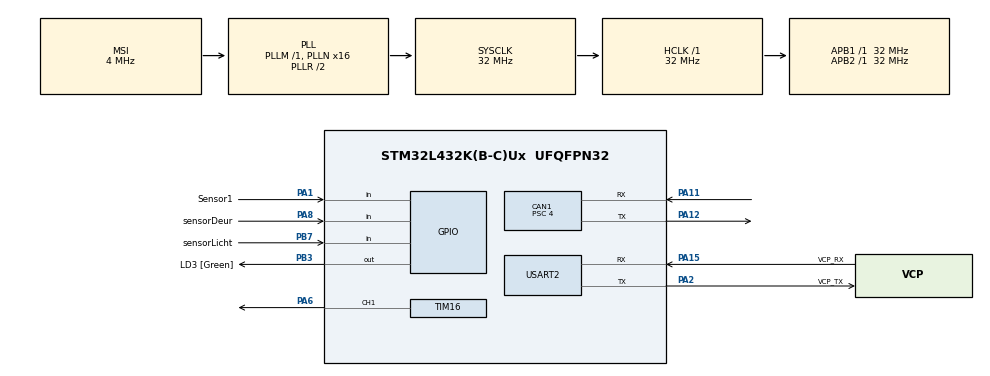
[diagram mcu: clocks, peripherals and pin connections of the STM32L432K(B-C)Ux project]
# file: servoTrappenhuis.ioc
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CAN1.AWUM=ENABLE
CAN1.BS1=CAN_BS1_15TQ
CAN1.BS2=CAN_BS2_2TQ
CAN1.CalculateBaudRate=444444
CAN1.CalculateTimeBit=2250
CAN1.CalculateTimeQuantum=125.0
CAN1.Prescaler=4
Mcu.Family=STM32L4
Mcu.Name=STM32L432K(B-C)Ux
Mcu.Package=UFQFPN32
NVIC.CAN1_RX0_IRQn=true\:0\:0\:false\:false\:true\:true\:true\:true
NVIC.CAN1_RX1_IRQn=true\:0\:0\:false\:false\:true\:true\:true\:true
NVIC.CAN1_SCE_IRQn=true\:0\:0\:false\:false\:true\:true\:true\:true
NVIC.CAN1_TX_IRQn=true\:0\:0\:false\:false\:true\:true\:true\:true
NVIC.PriorityGroup=NVIC_PRIORITYGROUP_4
PA0.GPIO_Label=MCO [High speed clock in]
PA0.Mode=HSE-External-Clock-Source-for-LittleOrca
PA0.Signal=RCC_CK_IN
PA1.GPIO_Label=Sensor1
PA1.GPIO_PuPd=GPIO_NOPULL
PA1.Signal=GPIO_Input
PA11.Mode=CAN_Activate
PA11.Signal=CAN1_RX
PA12.Mode=CAN_Activate
PA12.Signal=CAN1_TX
PA13\ (JTMS-SWDIO).GPIO_Label=SWDIO
PA13\ (JTMS-SWDIO).Mode=Serial_Wire
PA13\ (JTMS-SWDIO).Signal=SYS_JTMS-SWDIO
PA14\ (JTCK-SWCLK).GPIO_Label=SWCLK
PA14\ (JTCK-SWCLK).Mode=Serial_Wire
PA14\ (JTCK-SWCLK).Signal=SYS_JTCK-SWCLK
PA15\ (JTDI).GPIO_Label=VCP_RX
PA15\ (JTDI).Mode=Asynchronous
PA15\ (JTDI).Signal=USART2_RX
PA2.GPIO_Label=VCP_TX
PA2.Mode=Asynchronous
PA2.Signal=USART2_TX
PA6.Signal=S_TIM16_CH1
PA8.GPIO_Label=sensorDeur
PA8.Signal=GPIO_Input
PB3\ (JTDO-TRACESWO).GPIO_Label=LD3 [Green]
PB3\ (JTDO-TRACESWO).Signal=GPIO_Output
PB7.GPIO_Label=sensorLicht
PB7.Signal=GPIO_Input
PC14-OSC32_IN\ (PC14).Mode=LSE-External-Oscillator
PC14-OSC32_IN\ (PC14).Signal=RCC_OSC32_IN
PC15-OSC32_OUT\ (PC15).Mode=LSE-External-Oscillator
PC15-OSC32_OUT\ (PC15).Signal=RCC_OSC32_OUT
ProjectManager.HeapSize=0x200
ProjectManager.StackSize=0x400
ProjectManager.TargetToolchain=STM32CubeIDE
RCC.AHBFreq_Value=32000000
RCC.APB1Freq_Value=32000000
RCC.APB1TimFreq_Value=32000000
RCC.APB2Freq_Value=32000000
RCC.APB2TimFreq_Value=32000000
RCC.CortexFreq_Value=32000000
RCC.HCLKFreq_Value=32000000
RCC.HSE_VALUE=8000000
RCC.HSI16_VALUE=16000000
RCC.HSI48_VALUE=48000000
RCC.HSI_VALUE=16000000
RCC.MSI_VALUE=4000000
RCC.PLLMUL=RCC_PLLMUL_4
RCC.PLLN=16
RCC.SYSCLKFreq_VALUE=32000000
RCC.SYSCLKSource=RCC_SYSCLKSOURCE_PLLCLK
RCC.VCOOutputFreq_Value=64000000
SH.S_TIM16_CH1.0=TIM16_CH1,PWM Generation1 CH1
TIM16.AutoReloadPreload=TIM_AUTORELOAD_PRELOAD_ENABLE
TIM16.Channel=TIM_CHANNEL_1
TIM16.Period=200 - 1
TIM16.Prescaler=3200 - 1
TIM16.Pulse=25
TIM16.RepetitionCounter=200 -1
TIM2.Period=300000
TIM2.Prescaler=3200 - 1
TIM6.AutoReloadPreload=TIM_AUTORELOAD_PRELOAD_DISABLE
TIM6.Prescaler=3200 - 1
USART2.VirtualMode-Asynchronous=VM_ASYNC
VP_TIM16_VS_ClockSourceINT.Mode=Enable_Timer
VP_TIM2_VS_ClockSourceINT.Mode=Internal
VP_TIM6_VS_ClockSourceINT.Mode=Enable_Timer
board=NUCLEO-L432KC

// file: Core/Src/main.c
/* USER CODE BEGIN Header */
/**
  ******************************************************************************
  * @file           : main.c
  * @brief          : Main program body
  ******************************************************************************
  * @attention
  *
  * Copyright (c) 2024 STMicroelectronics.
  * All rights reserved.
  *
  * This software is licensed under terms that can be found in the LICENSE file
  * in the root directory of this software component.
  * If no LICENSE file comes with this software, it is provided AS-IS.
  *
  ******************************************************************************
  */
/* USER CODE END Header */
#include "main.h"

CAN_HandleTypeDef hcan1;

TIM_HandleTypeDef htim2;
TIM_HandleTypeDef htim6;
TIM_HandleTypeDef htim16;

UART_HandleTypeDef huart2;

void SystemClock_Config(void);
static void MX_GPIO_Init(void);
static void MX_USART2_UART_Init(void);
static void MX_CAN1_Init(void);
static void MX_TIM16_Init(void);
static void MX_TIM6_Init(void);
static void MX_TIM2_Init(void);
/* USER CODE BEGIN PFP */
void SendCANdeur(int status);
void SendCANlampen(int status);
/* USER CODE END PFP */

/* USER CODE BEGIN 0 */

uint32_t mb;
CAN_TxHeaderTypeDef msg;
uint8_t data[] = {1};

CAN_RxHeaderTypeDef msg2;
uint8_t data2[8];

/* USER CODE END 0 */

int main(void)
{

  /* MCU Configuration--------------------------------------------------------*/

  /* Reset of all peripherals, Initializes the Flash interface and the Systick. */
  HAL_Init();

  /* Configure the system clock */
  SystemClock_Config();

  /* Initialize all configured peripherals */
  MX_GPIO_Init();
  MX_USART2_UART_Init();
  MX_CAN1_Init();
  MX_TIM16_Init();
  MX_TIM6_Init();
  MX_TIM2_Init();
  /* USER CODE BEGIN 2 */

  HAL_TIM_PWM_Start(&htim16, TIM_CHANNEL_1);
  htim16.Instance->CCR1 = 15;					// deur/servo 'dicht'

  uint8_t tekstDeurOpen[] = "Beweging gedetecteerd: Deur gaat open\r\n";
  uint8_t tekstDeurDicht[] = "Geen beweging gedetecteerd: Deur gaat dicht\r\n";

  uint8_t tekstLampenAan[] = "Beweging gedetecteerd: Lampen aan\r\n";
  uint8_t tekstLampenUit[] = "Geen beweging gedetecteerd: Lampen uit\r\n";

  int statusDeur = 0;
  int statusLampen = 0;

  uint32_t currentTimeDeur = 0;
  uint32_t currentTimeLampen = 0;

  HAL_TIM_Base_Start(&htim6);
  HAL_TIM_Base_Start(&htim2);

  /* 1 keer per seconde
   *
   * 1 = 32.000.000 / (3200 * 10.000)
   * dus 10.000 is 1 seconden voor de timer
   */

  /* USER CODE END 2 */

  /* Infinite loop */
  /* USER CODE BEGIN WHILE */
  while (1)
  {

	  if (HAL_GPIO_ReadPin(sensorDeur_GPIO_Port, sensorDeur_Pin)){							//beweging gedetecteerd bij deur
		  __HAL_TIM_SET_COUNTER(&htim6, 0);													//reset de timer
		  if(statusDeur == 0){
			  statusDeur = 1;
			  SendCANdeur(statusDeur);
			  HAL_UART_Transmit(&huart2, tekstDeurOpen, sizeof(tekstDeurOpen), 100);
		  }
	  }
	  else{
		  currentTimeDeur = __HAL_TIM_GET_COUNTER(&htim6);									//huidige tijd updaten
		  if(currentTimeDeur >= 60000 && statusDeur == 1){									//>6 seconde geen beweging
			  statusDeur = 0;
			  SendCANdeur(statusDeur);
			  HAL_UART_Transmit(&huart2, tekstDeurDicht, sizeof(tekstDeurDicht), 100);

		  }
	  }

	  if (HAL_GPIO_ReadPin(sensorLicht_GPIO_Port, sensorLicht_Pin)){						//beweging gedetecteerd bij deur
		  __HAL_TIM_SET_COUNTER(&htim2, 0);													//reset de timer
		  if(statusLampen ==  0){
			  statusLampen = 1;
			  SendCANlampen(statusLampen);
			  HAL_UART_Transmit(&huart2, tekstLampenAan, sizeof(tekstLampenAan), 100);
			  HAL_GPIO_WritePin(GPIOB, GPIO_PIN_3, 1);										//test led op bordje
		  }
	  }
	  else{
		  currentTimeLampen = __HAL_TIM_GET_COUNTER(&htim2);
		  if(currentTimeLampen >= 100000 && statusLampen == 1){								//>10 seconden
			  statusLampen = 0;
			  SendCANlampen(statusLampen);
			  HAL_GPIO_WritePin(GPIOB, GPIO_PIN_3, 0);										//test led op bordje
			  HAL_UART_Transmit(&huart2, tekstLampenUit, sizeof(tekstLampenUit), 100);
		  }
	  }

    /* USER CODE END WHILE */

  }
}

void SystemClock_Config(void)
{
  RCC_OscInitTypeDef RCC_OscInitStruct = {0};
  RCC_ClkInitTypeDef RCC_ClkInitStruct = {0};

  /** Configure the main internal regulator output voltage
  */
  if (HAL_PWREx_ControlVoltageScaling(PWR_REGULATOR_VOLTAGE_SCALE1) != HAL_OK)
  {
    Error_Handler();
  }

  /** Configure LSE Drive Capability
  */
  HAL_PWR_EnableBkUpAccess();
  __HAL_RCC_LSEDRIVE_CONFIG(RCC_LSEDRIVE_LOW);

  /** Initializes the RCC Oscillators according to the specified parameters
  * in the RCC_OscInitTypeDef structure.
  */
  RCC_OscInitStruct.OscillatorType = RCC_OSCILLATORTYPE_LSE|RCC_OSCILLATORTYPE_MSI;
  RCC_OscInitStruct.LSEState = RCC_LSE_ON;
  RCC_OscInitStruct.MSIState = RCC_MSI_ON;
  RCC_OscInitStruct.MSICalibrationValue = 0;
  RCC_OscInitStruct.MSIClockRange = RCC_MSIRANGE_6;
  RCC_OscInitStruct.PLL.PLLState = RCC_PLL_ON;
  RCC_OscInitStruct.PLL.PLLSource = RCC_PLLSOURCE_MSI;
  RCC_OscInitStruct.PLL.PLLM = 1;
  RCC_OscInitStruct.PLL.PLLN = 16;
  RCC_OscInitStruct.PLL.PLLP = RCC_PLLP_DIV7;
  RCC_OscInitStruct.PLL.PLLQ = RCC_PLLQ_DIV2;
  RCC_OscInitStruct.PLL.PLLR = RCC_PLLR_DIV2;
  if (HAL_RCC_OscConfig(&RCC_OscInitStruct) != HAL_OK)
  {
    Error_Handler();
  }

  /** Initializes the CPU, AHB and APB buses clocks
  */
  RCC_ClkInitStruct.ClockType = RCC_CLOCKTYPE_HCLK|RCC_CLOCKTYPE_SYSCLK
                              |RCC_CLOCKTYPE_PCLK1|RCC_CLOCKTYPE_PCLK2;
  RCC_ClkInitStruct.SYSCLKSource = RCC_SYSCLKSOURCE_PLLCLK;
  RCC_ClkInitStruct.AHBCLKDivider = RCC_SYSCLK_DIV1;
  RCC_ClkInitStruct.APB1CLKDivider = RCC_HCLK_DIV1;
  RCC_ClkInitStruct.APB2CLKDivider = RCC_HCLK_DIV1;

  if (HAL_RCC_ClockConfig(&RCC_ClkInitStruct, FLASH_LATENCY_1) != HAL_OK)
  {
    Error_Handler();
  }

  /** Enable MSI Auto calibration
  */
  HAL_RCCEx_EnableMSIPLLMode();
}

static void MX_CAN1_Init(void)
{

  hcan1.Instance = CAN1;
  hcan1.Init.Prescaler = 4;
  hcan1.Init.Mode = CAN_MODE_NORMAL;
  hcan1.Init.SyncJumpWidth = CAN_SJW_1TQ;
  hcan1.Init.TimeSeg1 = CAN_BS1_15TQ;
  hcan1.Init.TimeSeg2 = CAN_BS2_2TQ;
  hcan1.Init.TimeTriggeredMode = DISABLE;
  hcan1.Init.AutoBusOff = DISABLE;
  hcan1.Init.AutoWakeUp = ENABLE;
  hcan1.Init.AutoRetransmission = DISABLE;
  hcan1.Init.ReceiveFifoLocked = DISABLE;
  hcan1.Init.TransmitFifoPriority = DISABLE;
  if (HAL_CAN_Init(&hcan1) != HAL_OK)
  {
    Error_Handler();
  }
  /* USER CODE BEGIN CAN1_Init 2 */
  CAN_FilterTypeDef sFilterConfig;

     sFilterConfig.FilterBank = 0;
     sFilterConfig.FilterMode = CAN_FILTERMODE_IDMASK;
     sFilterConfig.FilterScale = CAN_FILTERSCALE_32BIT;
     sFilterConfig.FilterIdHigh = 0x0000;
     sFilterConfig.FilterIdLow = 0x0000;
     sFilterConfig.FilterMaskIdHigh = 0x0000;
     sFilterConfig.FilterMaskIdLow = 0x0000;
     sFilterConfig.FilterFIFOAssignment = CAN_RX_FIFO0;
     sFilterConfig.FilterActivation = ENABLE;
     sFilterConfig.SlaveStartFilterBank = 0;

     if (HAL_CAN_ConfigFilter(&hcan1, &sFilterConfig) != HAL_OK) {
       Error_Handler();
     }

     if (HAL_CAN_Start(&hcan1) != HAL_OK) {
       Error_Handler();
     }

     if (HAL_CAN_ActivateNotification(&hcan1, CAN_IT_RX_FIFO0_MSG_PENDING | CAN_IT_TX_MAILBOX_EMPTY) != HAL_OK)
     {
     /* Notification Error */
     Error_Handler();
     }
  /* USER CODE END CAN1_Init 2 */

}

static void MX_TIM2_Init(void)
{

  TIM_ClockConfigTypeDef sClockSourceConfig = {0};
  TIM_MasterConfigTypeDef sMasterConfig = {0};

  htim2.Instance = TIM2;
  htim2.Init.Prescaler = 3200 - 1;
  htim2.Init.CounterMode = TIM_COUNTERMODE_UP;
  htim2.Init.Period = 300000;
  htim2.Init.ClockDivision = TIM_CLOCKDIVISION_DIV1;
  htim2.Init.AutoReloadPreload = TIM_AUTORELOAD_PRELOAD_DISABLE;
  if (HAL_TIM_Base_Init(&htim2) != HAL_OK)
  {
    Error_Handler();
  }
  sClockSourceConfig.ClockSource = TIM_CLOCKSOURCE_INTERNAL;
  if (HAL_TIM_ConfigClockSource(&htim2, &sClockSourceConfig) != HAL_OK)
  {
    Error_Handler();
  }
  sMasterConfig.MasterOutputTrigger = TIM_TRGO_RESET;
  sMasterConfig.MasterSlaveMode = TIM_MASTERSLAVEMODE_DISABLE;
  if (HAL_TIMEx_MasterConfigSynchronization(&htim2, &sMasterConfig) != HAL_OK)
  {
    Error_Handler();
  }

}

static void MX_TIM6_Init(void)
{

  TIM_MasterConfigTypeDef sMasterConfig = {0};

  htim6.Instance = TIM6;
  htim6.Init.Prescaler = 3200 - 1;
  htim6.Init.CounterMode = TIM_COUNTERMODE_UP;
  htim6.Init.Period = 65535;
  htim6.Init.AutoReloadPreload = TIM_AUTORELOAD_PRELOAD_DISABLE;
  if (HAL_TIM_Base_Init(&htim6) != HAL_OK)
  {
    Error_Handler();
  }
  sMasterConfig.MasterOutputTrigger = TIM_TRGO_RESET;
  sMasterConfig.MasterSlaveMode = TIM_MASTERSLAVEMODE_DISABLE;
  if (HAL_TIMEx_MasterConfigSynchronization(&htim6, &sMasterConfig) != HAL_OK)
  {
    Error_Handler();
  }

}

static void MX_TIM16_Init(void)
{

  TIM_OC_InitTypeDef sConfigOC = {0};
  TIM_BreakDeadTimeConfigTypeDef sBreakDeadTimeConfig = {0};

  htim16.Instance = TIM16;
  htim16.Init.Prescaler = 3200 - 1;
  htim16.Init.CounterMode = TIM_COUNTERMODE_UP;
  htim16.Init.Period = 200 - 1;
  htim16.Init.ClockDivision = TIM_CLOCKDIVISION_DIV1;
  htim16.Init.RepetitionCounter = 200 -1;
  htim16.Init.AutoReloadPreload = TIM_AUTORELOAD_PRELOAD_ENABLE;
  if (HAL_TIM_Base_Init(&htim16) != HAL_OK)
  {
    Error_Handler();
  }
  if (HAL_TIM_PWM_Init(&htim16) != HAL_OK)
  {
    Error_Handler();
  }
  sConfigOC.OCMode = TIM_OCMODE_PWM1;
  sConfigOC.Pulse = 25;
  sConfigOC.OCPolarity = TIM_OCPOLARITY_HIGH;
  sConfigOC.OCNPolarity = TIM_OCNPOLARITY_HIGH;
  sConfigOC.OCFastMode = TIM_OCFAST_DISABLE;
  sConfigOC.OCIdleState = TIM_OCIDLESTATE_RESET;
  sConfigOC.OCNIdleState = TIM_OCNIDLESTATE_RESET;
  if (HAL_TIM_PWM_ConfigChannel(&htim16, &sConfigOC, TIM_CHANNEL_1) != HAL_OK)
  {
    Error_Handler();
  }
  sBreakDeadTimeConfig.OffStateRunMode = TIM_OSSR_DISABLE;
  sBreakDeadTimeConfig.OffStateIDLEMode = TIM_OSSI_DISABLE;
  sBreakDeadTimeConfig.LockLevel = TIM_LOCKLEVEL_OFF;
  sBreakDeadTimeConfig.DeadTime = 0;
  sBreakDeadTimeConfig.BreakState = TIM_BREAK_DISABLE;
  sBreakDeadTimeConfig.BreakPolarity = TIM_BREAKPOLARITY_HIGH;
  sBreakDeadTimeConfig.AutomaticOutput = TIM_AUTOMATICOUTPUT_DISABLE;
  if (HAL_TIMEx_ConfigBreakDeadTime(&htim16, &sBreakDeadTimeConfig) != HAL_OK)
  {
    Error_Handler();
  }
  HAL_TIM_MspPostInit(&htim16);

}

static void MX_USART2_UART_Init(void)
{

  huart2.Instance = USART2;
  huart2.Init.BaudRate = 115200;
  huart2.Init.WordLength = UART_WORDLENGTH_8B;
  huart2.Init.StopBits = UART_STOPBITS_1;
  huart2.Init.Parity = UART_PARITY_NONE;
  huart2.Init.Mode = UART_MODE_TX_RX;
  huart2.Init.HwFlowCtl = UART_HWCONTROL_NONE;
  huart2.Init.OverSampling = UART_OVERSAMPLING_16;
  huart2.Init.OneBitSampling = UART_ONE_BIT_SAMPLE_DISABLE;
  huart2.AdvancedInit.AdvFeatureInit = UART_ADVFEATURE_NO_INIT;
  if (HAL_UART_Init(&huart2) != HAL_OK)
  {
    Error_Handler();
  }

}

static void MX_GPIO_Init(void)
{
  GPIO_InitTypeDef GPIO_InitStruct = {0};

  /* GPIO Ports Clock Enable */
  __HAL_RCC_GPIOC_CLK_ENABLE();
  __HAL_RCC_GPIOA_CLK_ENABLE();
  __HAL_RCC_GPIOB_CLK_ENABLE();

  /*Configure GPIO pin Output Level */
  HAL_GPIO_WritePin(LD3_GPIO_Port, LD3_Pin, GPIO_PIN_RESET);

  /*Configure GPIO pins : Sensor1_Pin sensorDeur_Pin */
  GPIO_InitStruct.Pin = Sensor1_Pin|sensorDeur_Pin;
  GPIO_InitStruct.Mode = GPIO_MODE_INPUT;
  GPIO_InitStruct.Pull = GPIO_NOPULL;
  HAL_GPIO_Init(GPIOA, &GPIO_InitStruct);

  /*Configure GPIO pin : LD3_Pin */
  GPIO_InitStruct.Pin = LD3_Pin;
  GPIO_InitStruct.Mode = GPIO_MODE_OUTPUT_PP;
  GPIO_InitStruct.Pull = GPIO_NOPULL;
  GPIO_InitStruct.Speed = GPIO_SPEED_FREQ_LOW;
  HAL_GPIO_Init(LD3_GPIO_Port, &GPIO_InitStruct);

  /*Configure GPIO pin : sensorLicht_Pin */
  GPIO_InitStruct.Pin = sensorLicht_Pin;
  GPIO_InitStruct.Mode = GPIO_MODE_INPUT;
  GPIO_InitStruct.Pull = GPIO_NOPULL;
  HAL_GPIO_Init(sensorLicht_GPIO_Port, &GPIO_InitStruct);

}

/* USER CODE BEGIN 4 */

/**
 * Interrupt functie wanneer er een bericht via CAN ontvangen wordt.
 * Een bericht met ID 13 is voor het aansturen van de trappenhuis deur.
 */
void HAL_CAN_RxFifo0MsgPendingCallback(CAN_HandleTypeDef *hcan){
	if (HAL_CAN_GetRxMessage(&hcan1, CAN_RX_FIFO0, &msg2, data2) == HAL_OK){
		if(msg2.StdId == 13){
			HAL_GPIO_TogglePin(GPIOB, GPIO_PIN_3); //test led
			if(data2[0] == 1){	//bij data '1' deur openen
				htim16.Instance->CCR1 = 25;
			}
			else if(data2[0] == 0){ //bij data '0' deur sluiten
				htim16.Instance->CCR1 = 15;
			}
		}
	}
}

void SendCANdeur(int status){
	uint32_t mb;
	CAN_TxHeaderTypeDef msg;
    uint8_t data[8] = {0};

    // Configureer het CAN bericht
    msg.StdId = 20;
    msg.IDE = CAN_ID_STD;
    msg.RTR = CAN_RTR_DATA;
    msg.DLC = 1;
    msg.TransmitGlobalTime = DISABLE;

	data[0] = status;
	if (HAL_CAN_AddTxMessage(&hcan1, &msg, data, &mb) != HAL_OK) {
		Error_Handler();
	}
}

void SendCANlampen(int status){
	uint32_t mb;
	CAN_TxHeaderTypeDef msg;
    uint8_t data[8] = {0};

    // Configureer het CAN bericht
    msg.StdId = 21;
    msg.IDE = CAN_ID_STD;
    msg.RTR = CAN_RTR_DATA;
    msg.DLC = 1;
    msg.TransmitGlobalTime = DISABLE;

	data[0] = status;
	if (HAL_CAN_AddTxMessage(&hcan1, &msg, data, &mb) != HAL_OK) {
		Error_Handler();
	}
}

/* USER CODE END 4 */

void Error_Handler(void)
{
  __disable_irq();
  while (1)
  {
  }
}
